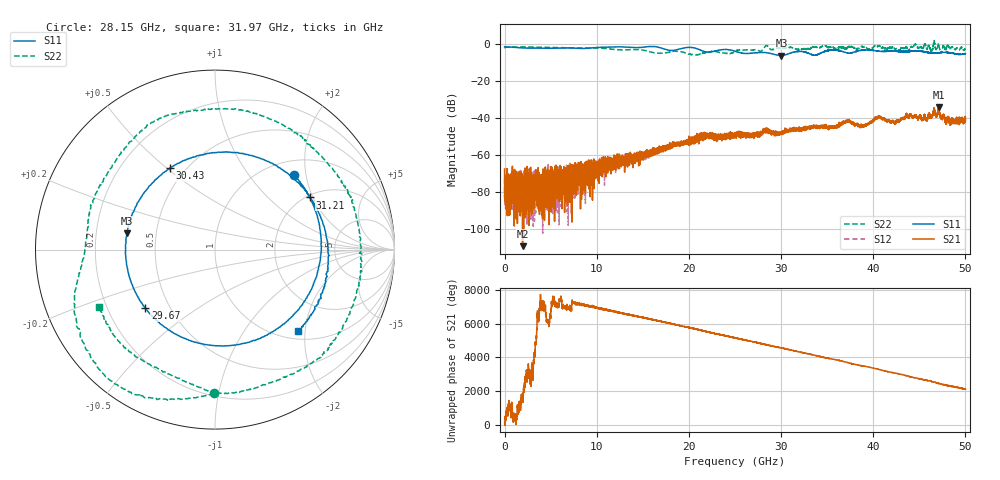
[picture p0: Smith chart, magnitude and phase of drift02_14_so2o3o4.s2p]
!Created with skrf (http://scikit-rf.org).
# Hz S RI R 50.0
!freq ReS11 ImS11 ReS21 ImS21 ReS12 ImS12 ReS22 ImS22
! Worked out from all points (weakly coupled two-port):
!   10001 points, 300 kHz to 50 GHz, reference 50 ohm
!   highest |S21| = -34.19 dB at 47.09 GHz (marker M1); lowest = -109.5 dB at 1.95 GHz (marker M2)
!   lowest |S11| = -6.1 dB at 30.05 GHz (marker M3), VSWR 2.97, Z = 16.9 + j4.08 ohm
!   |S11| at or under -10 dB: nowhere
!   |S22| runs from -5.7 to 2.2 dB; largest |S21 - S12| = 0.0034
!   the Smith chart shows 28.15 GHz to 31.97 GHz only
!   S11 on the Smith chart (normalised r, x): 28.15 GHz: 1.31, +1.72; 29.67 GHz: 0.37, -0.32; 30.43 GHz: 0.41, +0.51; 31.21 GHz: 2.08, +1.90; 31.97 GHz: 1.17, -1.83
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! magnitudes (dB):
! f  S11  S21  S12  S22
! 300 kHz  -1.3  -67.6  -72.5  -2.1
! 310.3 MHz  -1.3  -79.3  -80.9  -1.4
! 1.95 GHz  -1.9  -109.5  -76.2  -1.3
! 5.565 GHz  -2.1  -69.8  -86.2  -1.7
! 8.335 GHz  -2.2  -81.9  -65.8  -1.9
! 16.67 GHz  -1.5  -57.9  -57.1  -4.7
! 21.57 GHz  -3.7  -50.2  -48.4  -4.7
! 25 GHz  -3.7  -49.3  -48.9  -3.9
! 28.15 GHz  -4.4  -47.2  -47.1  -1.9
! 29.67 GHz  -5.9  -48.1  -48.5  -2.2
! 30.05 GHz  -6.1  -47.5  -48.2  -2.0
! 30.43 GHz  -5.7  -47.1  -47.3  -1.9
! 31.21 GHz  -4.4  -46.5  -46.1  -1.8
! 31.97 GHz  -3.8  -46.1  -45.9  -2.8
! 33.34 GHz  -5.5  -45.1  -44.5  -1.5
! 37.29 GHz  -4.7  -41.8  -41.5  -1.3
! 38.84 GHz  -3.1  -44.0  -44.2  -1.2
! 40.62 GHz  -3.6  -39.0  -39.0  -0.9
! 41.67 GHz  -3.6  -41.4  -41.5  -1.9
! 47.09 GHz  -4.5  -34.2  -35.5  0.7
! 48.49 GHz  -4.7  -40.5  -41.5  -1.5
! 50 GHz  -5.0  -40.2  -40.4  -2.7
